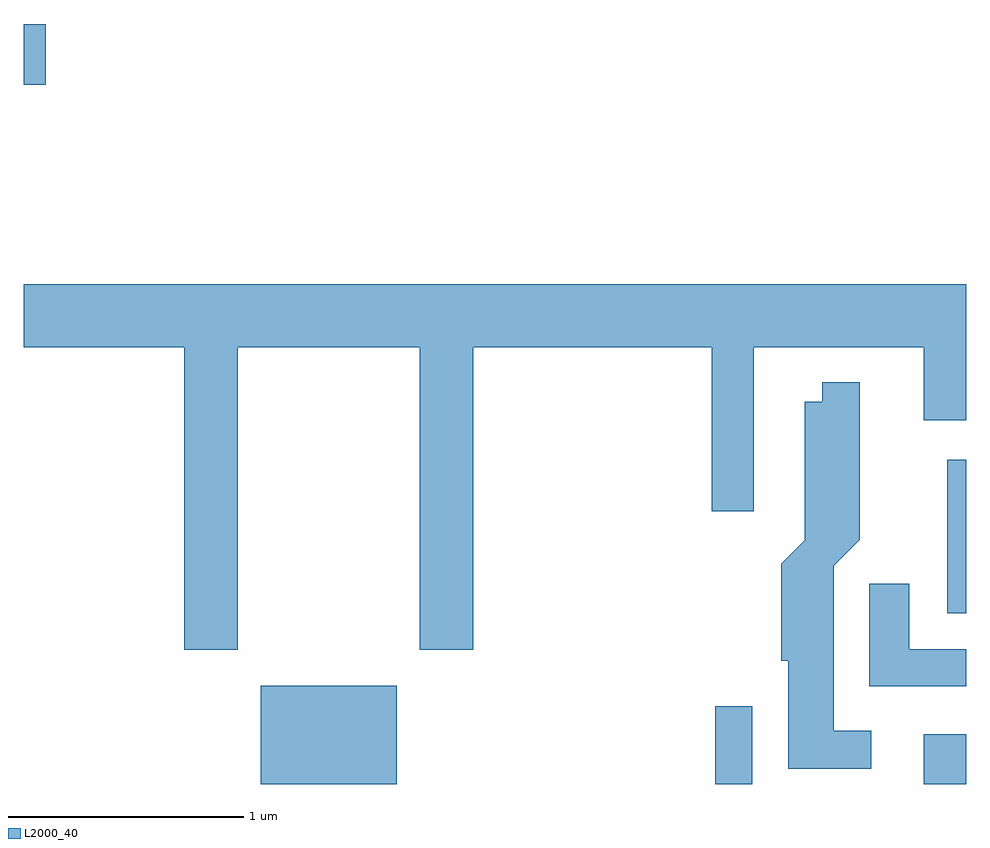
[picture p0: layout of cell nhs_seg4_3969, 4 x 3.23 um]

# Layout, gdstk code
import gdstk
lib = gdstk.Library(unit=1e-6, precision=1e-09)
def R(c, l, rs):  # rectangles x0, y0, x1, y1
    for r in rs: c.add(gdstk.rectangle(r[:2], r[2:], *l))
def P(c, l, *ps):  # polygons
    for p in ps: c.add(gdstk.Polygon(p, *l))
L2000_40 = (2000, 40)

nhs_seg4_3969 = lib.new_cell('nhs_seg4_3969')
R(nhs_seg4_3969, L2000_40, [(302.616,1303.982,303.194,1304.399), (304.546,1303.982,304.704,1304.313), (305.431,1303.982,305.611,1304.194), (305.531,1304.706,305.611,1305.359), (301.611,1306.951,301.704,1307.209)])
P(nhs_seg4_3969, L2000_40, [(302.519,1305.836),(303.291,1305.836),(303.291,1304.551),(303.519,1304.551),(303.519,1305.836),(304.531,1305.836),(304.531,1305.141),(304.709,1305.141),(304.709,1305.836),(305.431,1305.836),(305.431,1305.526),(305.611,1305.526),(305.611,1306.104),(301.611,1306.104),(301.611,1305.836),(302.291,1305.836),(302.291,1304.551),(302.519,1304.551)],
  [(305.208,1304.209),(305.049,1304.209),(305.049,1304.909),(305.159,1305.019),(305.159,1305.688),(305.001,1305.688),(305.001,1305.604),(304.926,1305.604),(304.926,1305.017),(304.826,1304.917),(304.826,1304.506),(304.856,1304.506),(304.856,1304.046),(305.208,1304.046)],
  [(305.611,1304.554),(305.369,1304.554),(305.369,1304.833),(305.201,1304.833),(305.201,1304.396),(305.611,1304.396)])

lib.write_gds('nhs_seg4_3969.gds')
